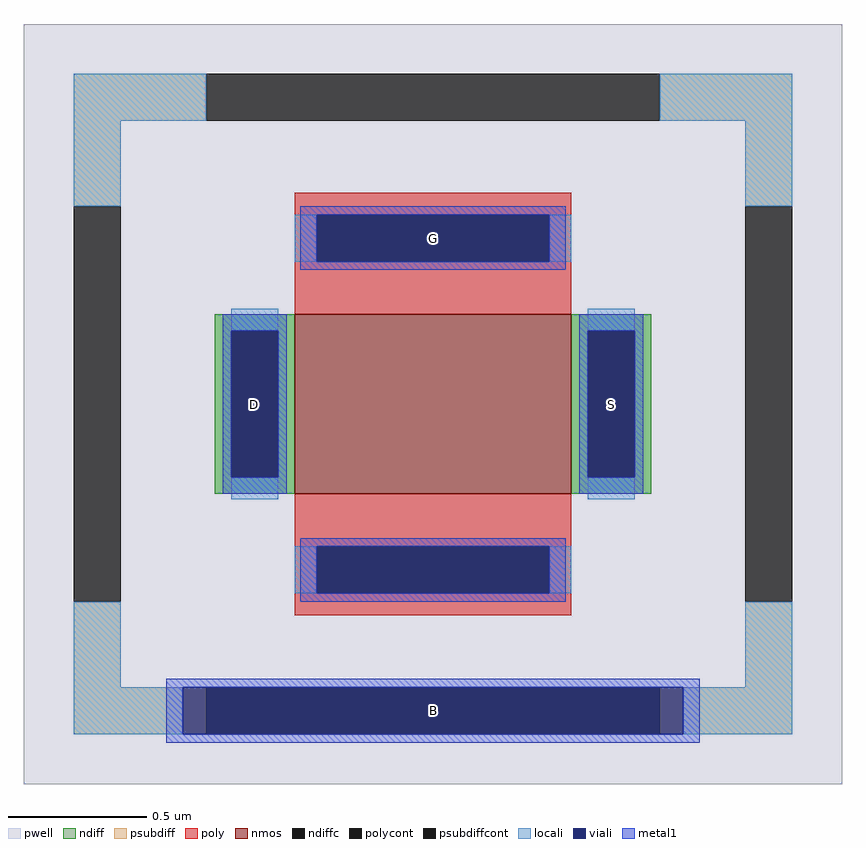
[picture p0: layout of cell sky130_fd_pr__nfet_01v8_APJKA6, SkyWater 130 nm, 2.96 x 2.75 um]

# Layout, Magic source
magic
tech sky130A
magscale 1 2
<< pwell >>
rect -296 -275 296 275
<< nmos >>
rect -100 -65 100 65
<< ndiff >>
rect -158 53 -100 65
rect -158 -53 -146 53
rect -112 -53 -100 53
rect -158 -65 -100 -53
rect 100 53 158 65
rect 100 -53 112 53
rect 146 -53 158 53
rect 100 -65 158 -53
<< ndiffc >>
rect -146 -53 -112 53
rect 112 -53 146 53
<< psubdiff >>
rect -260 205 -164 239
rect 164 205 260 239
rect -260 143 -226 205
rect 226 143 260 205
rect -260 -205 -226 -143
rect 226 -205 260 -143
rect -260 -239 -164 -205
rect 164 -239 260 -205
<< psubdiffcont >>
rect -164 205 164 239
rect -260 -143 -226 143
rect 226 -143 260 143
rect -164 -239 164 -205
<< poly >>
rect -100 137 100 153
rect -100 103 -84 137
rect 84 103 100 137
rect -100 65 100 103
rect -100 -103 100 -65
rect -100 -137 -84 -103
rect 84 -137 100 -103
rect -100 -153 100 -137
<< polycont >>
rect -84 103 84 137
rect -84 -137 84 -103
<< locali >>
rect -260 205 -164 239
rect 164 205 260 239
rect -260 143 -226 205
rect 226 143 260 205
rect -100 103 -84 137
rect 84 103 100 137
rect -146 53 -112 69
rect -146 -69 -112 -53
rect 112 53 146 69
rect 112 -69 146 -53
rect -100 -137 -84 -103
rect 84 -137 100 -103
rect -260 -205 -226 -143
rect 226 -205 260 -143
rect -260 -239 -181 -205
rect 181 -239 260 -205
<< viali >>
rect -84 103 84 137
rect -146 -53 -112 53
rect 112 -53 146 53
rect -84 -137 84 -103
rect -181 -239 -164 -205
rect -164 -239 164 -205
rect 164 -239 181 -205
<< metal1 >>
rect -96 137 96 143
rect -96 103 -84 137
rect 84 103 96 137
rect -96 97 96 103
rect -152 53 -106 65
rect -152 -53 -146 53
rect -112 -53 -106 53
rect -152 -65 -106 -53
rect 106 53 152 65
rect 106 -53 112 53
rect 146 -53 152 53
rect 106 -65 152 -53
rect -96 -103 96 -97
rect -96 -137 -84 -103
rect 84 -137 96 -103
rect -96 -143 96 -137
rect -193 -205 193 -199
rect -193 -239 -181 -205
rect 181 -239 193 -205
rect -193 -245 193 -239
<< labels >>
rlabel psubdiffcont 0 -222 0 -222 0 B
port 1 nsew
rlabel ndiffc -129 0 -129 0 0 D
port 2 nsew
rlabel ndiffc 129 0 129 0 0 S
port 3 nsew
rlabel polycont 0 120 0 120 0 G
port 4 nsew
<< properties >>
string FIXED_BBOX -243 -222 243 222
string gencell sky130_fd_pr__nfet_01v8
string library sky130
string parameters w 0.65 l 1 m 1 nf 1 diffcov 100 polycov 100 guard 1 glc 1 grc 1 gtc 1 gbc 1 tbcov 100 rlcov 100 topc 1 botc 1 poverlap 0 doverlap 1 lmin 0.15 wmin 0.42 class mosfet compatible {sky130_fd_pr__nfet_01v8 sky130_fd_pr__nfet_01v8_lvt  sky130_fd_bs_flash__special_sonosfet_star  sky130_fd_pr__nfet_g5v0d10v5 sky130_fd_pr__nfet_05v0_nvt  sky130_fd_pr__nfet_03v3_nvt} full_metal 1 conn_gates 0 viasrc 100 viadrn 100 viagate 100 viagb 80 viagr 0 viagl 0 viagt 0 doports 1
<< end >>
